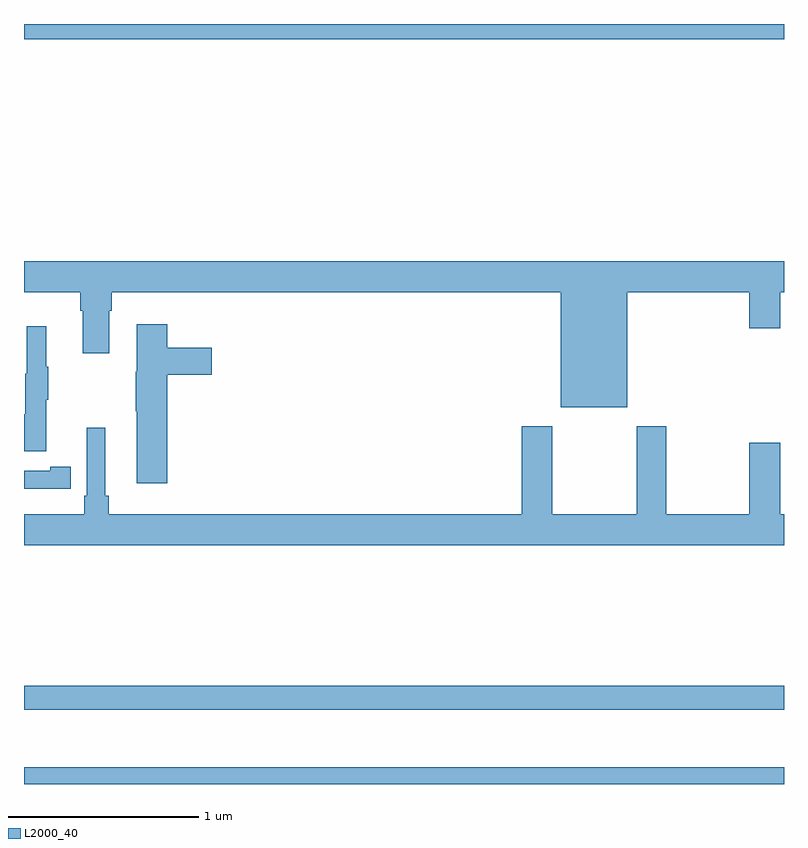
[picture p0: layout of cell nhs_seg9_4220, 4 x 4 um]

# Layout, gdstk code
import gdstk
lib = gdstk.Library(unit=1e-6, precision=1e-09)
def R(c, l, rs):  # rectangles x0, y0, x1, y1
    for r in rs: c.add(gdstk.rectangle(r[:2], r[2:], *l))
def P(c, l, *ps):  # polygons
    for p in ps: c.add(gdstk.Polygon(p, *l))
L2000_40 = (2000, 40)

nhs_seg9_4220 = lib.new_cell('nhs_seg9_4220')
R(nhs_seg9_4220, L2000_40, [(353,1192.5,357,1192.588), (353,1192.89,357,1193.018), (353,1196.42,357,1196.5)])
P(nhs_seg9_4220, L2000_40, [(356.176,1195.088),(356.816,1195.088),(356.816,1194.9),(356.98,1194.9),(356.98,1195.088),(357,1195.088),(357,1195.252),(353,1195.252),(353,1195.088),(353.297,1195.088),(353.297,1194.992),(353.309,1194.992),(353.309,1194.768),(353.449,1194.768),(353.449,1194.992),(353.462,1194.992),(353.462,1195.088),(355.826,1195.088),(355.826,1194.482),(356.176,1194.482)],
  [(353.753,1194.653),(353.989,1194.653),(353.989,1194.795),(353.753,1194.795),(353.753,1194.919),(353.594,1194.919),(353.594,1194.669),(353.587,1194.669),(353.587,1194.463),(353.594,1194.463),(353.594,1194.084),(353.753,1194.084)],
  [(353.117,1194.523),(353.128,1194.523),(353.128,1194.697),(353.117,1194.697),(353.117,1194.91),(353.014,1194.91),(353.014,1194.66),(353.007,1194.66),(353.007,1194.446),(353,1194.446),(353,1194.252),(353.117,1194.252)],
  [(357,1193.92),(356.98,1193.92),(356.98,1194.295),(356.816,1194.295),(356.816,1193.92),(356.379,1193.92),(356.379,1194.382),(356.224,1194.382),(356.224,1193.92),(355.779,1193.92),(355.779,1194.382),(355.619,1194.382),(355.619,1193.92),(353.447,1193.92),(353.447,1194.016),(353.428,1194.016),(353.428,1194.376),(353.331,1194.376),(353.331,1194.016),(353.318,1194.016),(353.318,1193.92),(353,1193.92),(353,1193.756),(357,1193.756)],
  [(353.138,1194.054),(353.246,1194.054),(353.246,1194.17),(353.138,1194.17),(353.138,1194.15),(353,1194.15),(353,1194.053),(353.138,1194.053)])

lib.write_gds('nhs_seg9_4220.gds')
